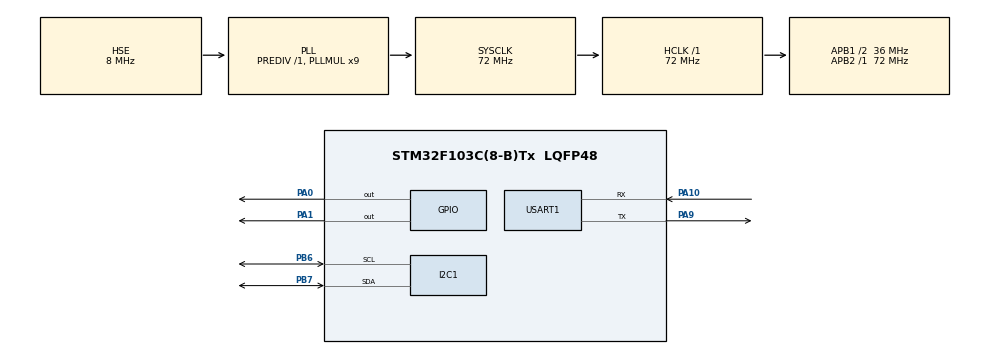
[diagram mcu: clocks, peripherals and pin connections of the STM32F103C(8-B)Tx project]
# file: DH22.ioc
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Mcu.Family=STM32F1
Mcu.Name=STM32F103C(8-B)Tx
Mcu.Package=LQFP48
NVIC.PriorityGroup=NVIC_PRIORITYGROUP_4
PA0-WKUP.GPIO_ModeDefaultOutputPP=GPIO_MODE_OUTPUT_OD
PA0-WKUP.GPIO_PuPd=GPIO_PULLUP
PA0-WKUP.GPIO_Speed=GPIO_SPEED_FREQ_HIGH
PA0-WKUP.PinState=GPIO_PIN_SET
PA0-WKUP.Signal=GPIO_Output
PA1.GPIO_ModeDefaultOutputPP=GPIO_MODE_OUTPUT_OD
PA1.GPIO_PuPd=GPIO_PULLUP
PA1.GPIO_Speed=GPIO_SPEED_FREQ_HIGH
PA1.PinState=GPIO_PIN_SET
PA1.Signal=GPIO_Output
PA10.Mode=Asynchronous
PA10.Signal=USART1_RX
PA13.Mode=Serial_Wire
PA13.Signal=SYS_JTMS-SWDIO
PA14.Mode=Serial_Wire
PA14.Signal=SYS_JTCK-SWCLK
PA9.Mode=Asynchronous
PA9.Signal=USART1_TX
PB6.Mode=I2C
PB6.Signal=I2C1_SCL
PB7.Mode=I2C
PB7.Signal=I2C1_SDA
PD0-OSC_IN.Mode=HSE-External-Oscillator
PD0-OSC_IN.Signal=RCC_OSC_IN
PD1-OSC_OUT.Mode=HSE-External-Oscillator
PD1-OSC_OUT.Signal=RCC_OSC_OUT
ProjectManager.HeapSize=0x200
ProjectManager.StackSize=0x400
ProjectManager.TargetToolchain=MDK-ARM V5.32
RCC.AHBFreq_Value=72000000
RCC.APB1CLKDivider=RCC_HCLK_DIV2
RCC.APB1Freq_Value=36000000
RCC.APB1TimFreq_Value=72000000
RCC.APB2Freq_Value=72000000
RCC.APB2TimFreq_Value=72000000
RCC.HCLKFreq_Value=72000000
RCC.PLLMUL=RCC_PLL_MUL9
RCC.PLLSourceVirtual=RCC_PLLSOURCE_HSE
RCC.SYSCLKFreq_VALUE=72000000
RCC.SYSCLKSource=RCC_SYSCLKSOURCE_PLLCLK
RCC.USBFreq_Value=72000000
TIM1.Period=10000
TIM1.Prescaler=71
USART1.VirtualMode=VM_ASYNC
VP_TIM1_VS_ClockSourceINT.Mode=Internal
board=custom

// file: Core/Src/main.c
/* USER CODE BEGIN Header */
/**
  ******************************************************************************
  * @file           : main.c
  * @brief          : Main program body
  ******************************************************************************
  * @attention
  *
  * Copyright (c) 2026 STMicroelectronics.
  * All rights reserved.
  *
  * This software is licensed under terms that can be found in the LICENSE file
  * in the root directory of this software component.
  * If no LICENSE file comes with this software, it is provided AS-IS.
  *
  ******************************************************************************
  */
/* USER CODE END Header */
#include "main.h"
#include "i2c.h"
#include "tim.h"
#include "usart.h"
#include "gpio.h"

/* USER CODE BEGIN PTD */
typedef struct {
    float Temperature;
    float Humidity;
} DHT22_Data_t;
/* USER CODE END PTD */

/* USER CODE BEGIN PD */
#define DHT22_PORT GPIOA
#define DHT22_PIN  GPIO_PIN_1
// PA1 的配置位在 CRL 寄存器的第 4-7 位 (每个引脚占 4 位)
// 0x3 是推挽输出 (50MHz), 0x8 是带上拉/下拉输入 (F103 特性)
#define DHT22_IO_OUT() {GPIOA->CRL &= 0xFFFFFF0F; GPIOA->CRL |= 0x00000030;}
#define DHT22_IO_IN()  {GPIOA->CRL &= 0xFFFFFF0F; GPIOA->CRL |= 0x00000080; GPIOA->ODR |= GPIO_PIN_1;}

// 快捷读写宏
#define DHT22_DQ_OUT(x) HAL_GPIO_WritePin(GPIOA, GPIO_PIN_1, x ? GPIO_PIN_SET : GPIO_PIN_RESET)
#define DHT22_DQ_IN     HAL_GPIO_ReadPin(GPIOA, GPIO_PIN_1)
/* USER CODE END PD */

/* USER CODE BEGIN PM */
void DWT_Init(void);
/* USER CODE END PM */

/* USER CODE BEGIN PV */
 float Temperature, Humidity;
uint8_t data[5];
/* USER CODE END PV */

void SystemClock_Config(void);

/* USER CODE BEGIN 0 */
// 切换引脚为输出模式
void Set_Pin_Output(GPIO_TypeDef *GPIOx, uint16_t GPIO_Pin) {
    GPIO_InitTypeDef GPIO_InitStruct = {0};
    GPIO_InitStruct.Pin = GPIO_Pin;
    GPIO_InitStruct.Mode = GPIO_MODE_OUTPUT_PP;
    GPIO_InitStruct.Speed = GPIO_SPEED_FREQ_HIGH;
    HAL_GPIO_Init(GPIOx, &GPIO_InitStruct);
}

// 切换引脚为输入模式
void Set_Pin_Input(GPIO_TypeDef *GPIOx, uint16_t GPIO_Pin) {
    GPIO_InitTypeDef GPIO_InitStruct = {0};
    GPIO_InitStruct.Pin = GPIO_Pin;
    GPIO_InitStruct.Mode = GPIO_MODE_INPUT;
    GPIO_InitStruct.Pull = GPIO_NOPULL;
    HAL_GPIO_Init(GPIOx, &GPIO_InitStruct);
}

void DWT_Init(void) {
    CoreDebug->DEMCR |= CoreDebug_DEMCR_TRCENA_Msk;
    DWT->CYCCNT = 0;
    DWT->CTRL |= DWT_CTRL_CYCCNTENA_Msk;
}

void delay_us(uint32_t us) {
    uint32_t startTick = DWT->CYCCNT;
    // 使用 HAL_RCC_GetHCLKFreq() 动态获取真实主频，绝对不会出错
    uint32_t delayTicks = us * (HAL_RCC_GetHCLKFreq() / 1000000);
    while (DWT->CYCCNT - startTick < delayTicks);
}
// 读取 DHT22 数据
// 读取 DHT22 数据
uint8_t DHT22_Read_Data(DHT22_Data_t *DataStruct) {
    uint8_t i, j;
    uint16_t timeout = 0;

    // 【修复 1】：每次读取前，必须清空历史数据！
    for (i = 0; i < 5; i++) {
        data[i] = 0;
    }

    // 【修复 2】：利用开漏特性，输出 0 拉低总线
    DHT22_DQ_OUT(0);
    delay_us(1000);      // 拉低 1ms (手册要求 >1ms)

    // 输出 1 释放总线，因为是开漏+上拉，此时相当于变成了输入模式
    DHT22_DQ_OUT(1);
    delay_us(30);        // 拉高 30us

    // ------------------ 等待传感器响应 ------------------
    timeout = 0;
    // 等待 DHT22 拉低 (响应信号)
    while (DHT22_DQ_IN && timeout < 100) {
        delay_us(1);
        timeout++;
    }
    // 【修复 3】：修正超时判断阈值
    if (timeout >= 100) return 0; // 超时失败

    // 等待 DHT22 释放总线 (变回高电平)
    timeout = 0;
    while (!DHT22_DQ_IN && timeout < 100) {
        delay_us(1);
        timeout++;
    }
    if (timeout >= 100) return 0;

 // ------------------ 3. 开始接收 40 位数据 ------------------
    __disable_irq();  // 🔴 临时关闭全局中断！防止 SysTick 打断微秒级时序

    for (i = 0; i < 5; i++) {
        for (j = 0; j < 8; j++) {
            // 等待总线变高
            timeout = 0;
            while (!DHT22_DQ_IN && timeout < 100) { delay_us(1); timeout++; }
            if (timeout >= 100) { __enable_irq(); return 0; } // ⚠️ 异常退出前，千万别忘了开中断

            // 延时 40us
            delay_us(40);

            // 如果 40us 后还是高电平，说明是数据 '1'
            if (DHT22_DQ_IN) {
                data[i] |= (1 << (7 - j));

                // 等待高电平结束
                timeout = 0;
                while (DHT22_DQ_IN && timeout < 100) { delay_us(1); timeout++; }
                if (timeout >= 100) { __enable_irq(); return 0; } // ⚠️ 异常退出前，千万别忘了开中断
            }
        }
    }

    __enable_irq();  // 🟢 40位数据安全读完，立刻恢复全局中断
    // -----------------------------------------------------------
    // 4. 校验与计算
    if (data[4] == ((data[0] + data[1] + data[2] + data[3]) & 0xFF)) {
        // 湿度 = (高8位 << 8 | 低8位) / 10
        DataStruct->Humidity = (float)((data[0] << 8) | data[1]) / 10.0f;

        // 温度处理 (最高位为 1 代表负数)
        int16_t rawTemp = ((data[2] & 0x7F) << 8) | data[3];
        if (data[2] & 0x80) rawTemp = -rawTemp;
        DataStruct->Temperature = (float)rawTemp / 10.0f;

        return 1; // 读取成功
    }

    return 0; // 校验失败
}
uint16_t tem_and_hum(void)
{

}

/* USER CODE END 0 */

int main(void)
{

  /* MCU Configuration--------------------------------------------------------*/

  /* Reset of all peripherals, Initializes the Flash interface and the Systick. */
  HAL_Init();

  /* Configure the system clock */
  SystemClock_Config();

  /* Initialize all configured peripherals */
  MX_GPIO_Init();
  MX_USART1_UART_Init();
  MX_TIM1_Init();
  MX_I2C1_Init();
  /* USER CODE BEGIN 2 */
  DWT_Init();
  uint8_t txBuffer[50];
  /* USER CODE END 2 */

  /* Infinite loop */
  /* USER CODE BEGIN WHILE */
  DHT22_Data_t myDHT22;
	HAL_Delay(3000);
  while (1)
  {

    if (DHT22_Read_Data(&myDHT22)) {
      HAL_GPIO_WritePin(GPIOA,GPIO_PIN_0,GPIO_PIN_RESET);
            // 读取成功，可以在这里通过串口打印
      // HAL_UART_Transmit(&huart1,data,5,HAL_MAX_DELAY);
      sprintf((char *)txBuffer, "Temp: %.1f C, Humi: %.1f %%\r\n", myDHT22.Temperature, myDHT22.Humidity);
      HAL_UART_Transmit(&huart1, txBuffer, strlen((char *)txBuffer), 100);
      // printf("Temp: %.1f C, Humi: %.1f %%\r\n", myDHT22.Temperature, myDHT22.Humidity);
        } else {
          HAL_UART_Transmit(&huart1,(uint8_t *)"DHT22 Read Failed\r\n", 20, HAL_MAX_DELAY);
					HAL_GPIO_WritePin(GPIOA,GPIO_PIN_0,GPIO_PIN_SET);
        }
		HAL_Delay(2000); // 必须延时 2 秒，否则传感器不理你
//		if (DHT22_Start()) {
//    data[0] = DHT22_Read_Byte(); // 湿度高8位
//    data[1] = DHT22_Read_Byte(); // 湿度低8位
//    data[2] = DHT22_Read_Byte(); // 温度高8位
//    data[3] = DHT22_Read_Byte(); // 温度低8位
//    data[4] = DHT22_Read_Byte(); // 校验位

//    if (data[4] == (uint8_t)(data[0] + data[1] + data[2] + data[3])) {
//        Humidity = (float)((data[0] << 8) | data[1]) / 10.0;
//        Temperature = (float)((data[2] << 8) | data[3]) / 10.0;
//    }
//}
    /* USER CODE END WHILE */

  }
}

void SystemClock_Config(void)
{
  RCC_OscInitTypeDef RCC_OscInitStruct = {0};
  RCC_ClkInitTypeDef RCC_ClkInitStruct = {0};

  /** Initializes the RCC Oscillators according to the specified parameters
  * in the RCC_OscInitTypeDef structure.
  */
  RCC_OscInitStruct.OscillatorType = RCC_OSCILLATORTYPE_HSE;
  RCC_OscInitStruct.HSEState = RCC_HSE_ON;
  RCC_OscInitStruct.HSEPredivValue = RCC_HSE_PREDIV_DIV1;
  RCC_OscInitStruct.HSIState = RCC_HSI_ON;
  RCC_OscInitStruct.PLL.PLLState = RCC_PLL_ON;
  RCC_OscInitStruct.PLL.PLLSource = RCC_PLLSOURCE_HSE;
  RCC_OscInitStruct.PLL.PLLMUL = RCC_PLL_MUL9;
  if (HAL_RCC_OscConfig(&RCC_OscInitStruct) != HAL_OK)
  {
    Error_Handler();
  }

  /** Initializes the CPU, AHB and APB buses clocks
  */
  RCC_ClkInitStruct.ClockType = RCC_CLOCKTYPE_HCLK|RCC_CLOCKTYPE_SYSCLK
                              |RCC_CLOCKTYPE_PCLK1|RCC_CLOCKTYPE_PCLK2;
  RCC_ClkInitStruct.SYSCLKSource = RCC_SYSCLKSOURCE_PLLCLK;
  RCC_ClkInitStruct.AHBCLKDivider = RCC_SYSCLK_DIV1;
  RCC_ClkInitStruct.APB1CLKDivider = RCC_HCLK_DIV2;
  RCC_ClkInitStruct.APB2CLKDivider = RCC_HCLK_DIV1;

  if (HAL_RCC_ClockConfig(&RCC_ClkInitStruct, FLASH_LATENCY_2) != HAL_OK)
  {
    Error_Handler();
  }
}

void Error_Handler(void)
{
  __disable_irq();
  while (1)
  {
  }
}
